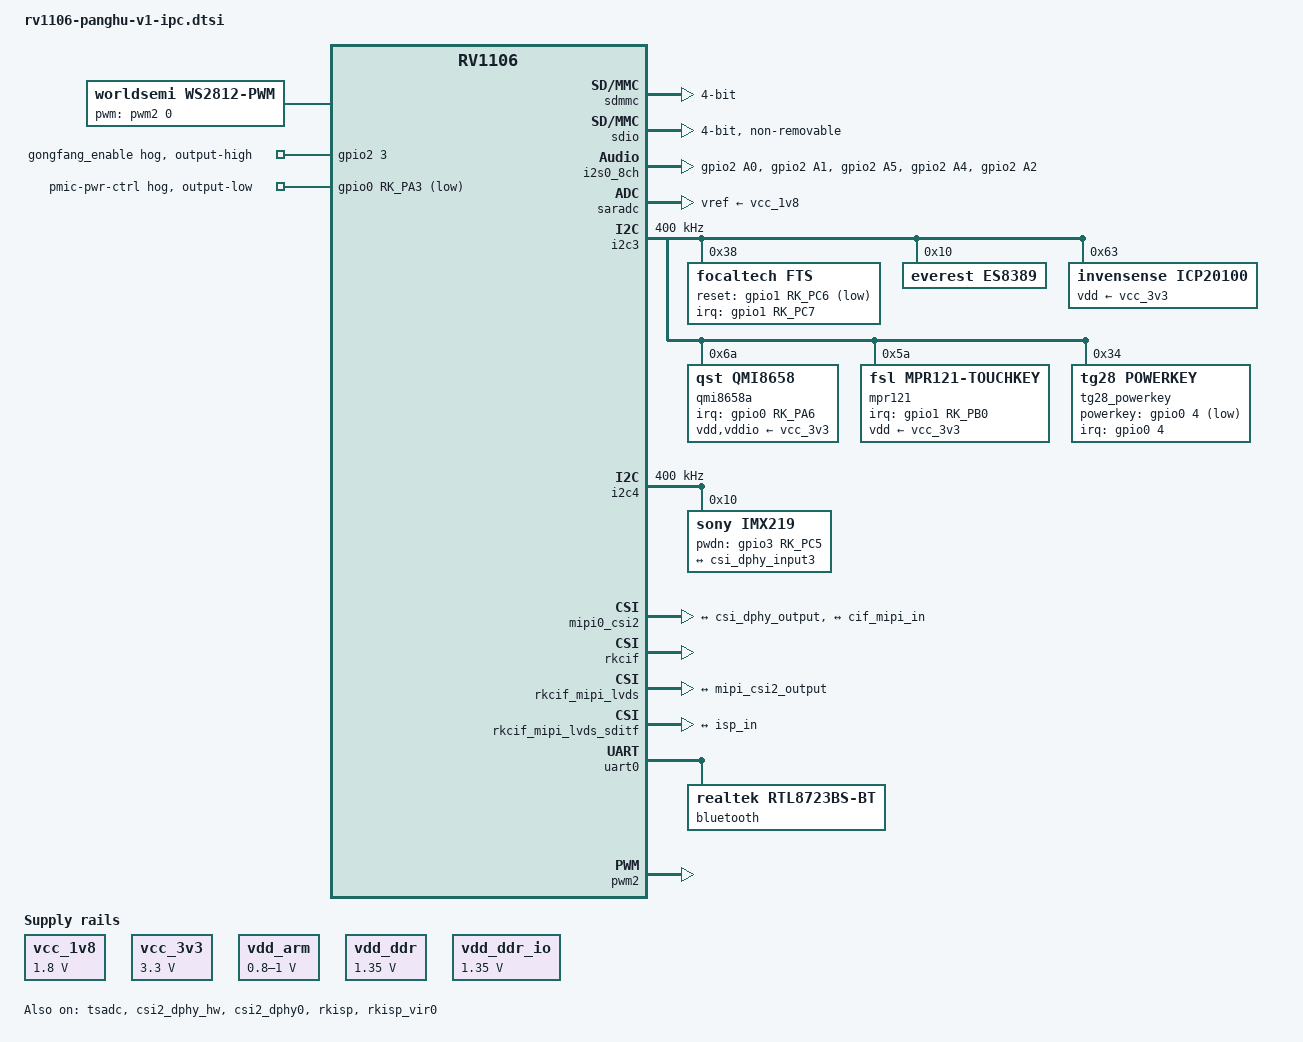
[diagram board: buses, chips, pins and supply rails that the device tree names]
// SPDX-License-Identifier: (GPL-2.0+ OR MIT)
/*
 * Copyright (c) 2022 Rockchip Electronics Co., Ltd.
 */
#include "rv1106-amp.dtsi"

/ {
	chosen {
		bootargs = "earlycon=uart8250,mmio32,0xff4c0000 console=ttyFIQ0 root=/dev/mmcblk1p7 rootwait snd_soc_core.prealloc_buffer_size_kbytes=16 coherent_pool=0 snd_soc_core.disable_offload=0 log_buf_len=1M mmc.debug=1";
	};

	reserved_memory: reserved-memory {
		#address-cells = <1>;
		#size-cells = <1>;
		ranges;
		
		drm_logo: drm-logo@00000000 {
			compatible = "rockchip,drm-logo";
			reg = <0x0 0x0>;
		};
		
		rkisp_reserved: rkisp@0 {
			compatible = "shared-dma-pool";
			inactive;
			reusable;
			size = <0x800000>; //8M for ISP
		};
		
		linux,cma {
			status = "okay";
			compatible = "shared-dma-pool";
			inactive;
			reusable;
			size = <0xA00000>; //10M
			linux,cma-default;
		};
	};

	/* ES8389音频编解码器声卡 - 配置为两个单端麦克风和双声道立体声喇叭 */
	es8389_sound: es8389-sound {
		status = "okay";
		compatible = "simple-audio-card";
		simple-audio-card,name = "rv1106-es8389";
		simple-audio-card,format = "i2s";
		simple-audio-card,mclk-fs = <256>;
		simple-audio-card,bitclock-master = <&i2s0_8ch>;
		simple-audio-card,frame-master = <&i2s0_8ch>;
		//spk-con-gpio = <&gpio2 RK_PA3 GPIO_ACTIVE_HIGH>;
		rockchip,audio-routing =
			/* 双声道立体声喇叭输出 - 左声道和右声道分别连接到LOUT2和ROUT2 */
			"Speaker", "LOUT2",
			"Speaker", "ROUT2",
			"Speaker", "Speaker Power",
			"Speaker", "Speaker Power",
			/* 两个单端麦克风输入 - 左麦克风连接到LINPUT1，右麦克风连接到RINPUT1 */
			"LINPUT1", "Left Mic",
			"RINPUT1", "Right Mic";
		dai_cpu: simple-audio-card,cpu {sound-dai = <&i2s0_8ch>;};
		simple-audio-card,codec {sound-dai = <&es8389>;};
	};

	vcc_1v8: vcc-1v8 {
		compatible = "regulator-fixed";
		regulator-name = "vcc_1v8";
		regulator-always-on;
		regulator-boot-on;
		regulator-min-microvolt = <1800000>;
		regulator-max-microvolt = <1800000>;
	};

	vcc_3v3: vcc-3v3 {
		compatible = "regulator-fixed";
		regulator-name = "vcc_3v3";
		regulator-always-on;
		regulator-boot-on;
		regulator-min-microvolt = <3300000>;
		regulator-max-microvolt = <3300000>;
	};

	vdd_arm: vdd-arm {
		compatible = "regulator-fixed";
		regulator-name = "vdd_arm";
		regulator-min-microvolt = <800000>;
		regulator-max-microvolt = <1000000>;
		regulator-init-microvolt = <900000>;
		regulator-always-on;
		regulator-boot-on;
	};

	// 这个ddr的电压是axp2101给的电压，需配置2101之后才可以设置ddr的电压(待实现)
	vdd_ddr: vdd-ddr {
		compatible = "regulator-fixed";
		regulator-name = "vdd_ddr";
		regulator-min-microvolt = <1350000>;
		regulator-max-microvolt = <1350000>;
		regulator-always-on;
		regulator-boot-on;
	};

	vdd_ddr_io: vdd-ddr-io {
		compatible = "regulator-fixed";
		regulator-name = "vdd_ddr_io";
		regulator-min-microvolt = <1350000>;
		regulator-max-microvolt = <1350000>;
		regulator-always-on;
		regulator-boot-on;
	};

	/* AXP2101按键配置 - IRQ连接到GPIO1PD0 */
	/* 注意：AXP2101的IRQ引脚通常是低电平有效（开漏输出） */
/*	axp2101_key: axp2101-key {
		compatible = "x-powers,axp2101-key";
		irq-gpios = <&gpio1 RK_PD0 GPIO_ACTIVE_LOW>;
		keycode-single = <116>;  
		keycode-double = <102>;  
		keycode-short = <114>;   
		keycode-long = <115>;   
		double-click-interval = <300>;  
		short-press-time = <50>;        
		long-press-time = <1000>;       
		debounce-time = <20>;           
		status = "okay";
	};
*/



	/* WS2812 LED驱动 - 使用PWM2M0接口，PWM+DMA方式 */
	ws2812 {
		compatible = "worldsemi,ws2812-pwm";
		pwms = <&pwm2 0 1250 0>;  /* PWM2, 周期1250ns (800kHz) */
		status = "okay";
	};
};

/**********SDMMC**********/
&sdmmc {
	status = "okay";
	max-frequency = <50000000>;
	no-sdio;
	no-mmc;
	bus-width = <4>;
	cap-mmc-highspeed;
	cap-sd-highspeed;
	disable-wp;
	pinctrl-names = "default";
	pinctrl-0 = <&sdmmc0_clk &sdmmc0_cmd &sdmmc0_det &sdmmc0_bus4>;
};

/***********mmc interface for wifi map to sdio set for sdio mode**********/
&sdio {
	status = "okay";
	max-frequency = <50000000>; // 最大运行频率不超过 150Mhz; SDIO2.0 卡最大 50M，SDIO3.0 最大支持 150M
	bus-width = <4>;             // 4线数据模式

	cap-sd-highspeed;            // 此配置同 SD 卡功能，作为 SDIO 外设，也有区分是否为 highspeed 的 SDIO 外设。
	cap-sdio-irq;                // 此配置标识该 SDIO 外设(通常是 Wifi)是否支持 sdio 中断
	keep-power-in-suspend;       // 此配置表示是否支持睡眠不断电，请默认加入该选项。Wifi 一般都有深度唤醒的要求。
	non-removable;               // 此项表示该插槽为不可移动设备且此项为 SDIO 设备必须添加项。        
	no-1-8-v;
	supports-sdio;               // 标识此插槽为 SDIO 功能，为必须添加项。否则无法初始化 SDIO 外设。
	
	pinctrl-names = "default", "sleep";
	pinctrl-0 = <&sdmmc1m1_clk &sdmmc1m1_cmd &sdmmc1m1_bus4>; // rv1106-pinctrl.dtsi
	pinctrl-1 = <&sdmmc1m1_idle_pins>;
};

/***************************** AUDIO ********************************/
&i2s0_8ch {
	status = "okay";
	rockchip,clk-trcm = <1>;
	rockchip,io-func = <1>;
	pinctrl-names = "default";
	pinctrl-0 = <&i2s0_sclk &i2s0_lrck &i2s0_sdi0 &i2s0_sdo0 &i2s0_mclk>;
	assigned-clocks = <&cru MCLK_I2S0_8CH_TX>;
	assigned-clock-rates = <12288000>;
	#sound-dai-cells = <0>;
};

/***************************** C  PU ********************************/
&cpu0 {
	cpu-supply = <&vdd_arm>;
};

/***************************** ADC ********************************/
&saradc {
	status = "okay";
	vref-supply = <&vcc_1v8>;
};

&tsadc {
	status = "okay";
};

/***************************** CSI ********************************/
&csi2_dphy_hw {
	status = "okay";
};

&csi2_dphy0 {
	status = "okay";

	ports {
		#address-cells = <1>;
		#size-cells = <0>;

		port@0 {
			reg = <0>;
			#address-cells = <1>;
			#size-cells = <0>;

			csi_dphy_input3: endpoint@3 {
				reg = <3>;
				remote-endpoint = <&imx219_out>;
				data-lanes = <1 2>;
			};

		};

		port@1 {
			reg = <1>;
			#address-cells = <1>;
			#size-cells = <0>;

			csi_dphy_output: endpoint@0 {
				reg = <0>;
				remote-endpoint = <&mipi_csi2_input>;
			};
		};
	};
};

/* I2C3: ES8389音频编解码器 */
&i2c3 {
	status = "okay";
	clock-frequency = <400000>;  // 400kHz I2C频率
	pinctrl-names = "default";
	pinctrl-0 = <&i2c3m1_xfer>;
	
	focaltech@38 { 
		compatible = "focaltech,fts";	
		reg = <0x38>;  					
		interrupt-parent = <&gpio1>;				
		interrupts = <RK_PC7 IRQ_TYPE_EDGE_FALLING>;
		focaltech,reset-gpio = <&gpio1 RK_PC6 GPIO_ACTIVE_LOW>;
		focaltech,irq-gpio = <&gpio1 RK_PC7 IRQ_TYPE_LEVEL_LOW>; 

		focaltech,max-touch-number = <5>;			
		focaltech,display-coords =  <0 0 240 320>;
		focaltech,rotate = <270>;
	};

	es8389: es8389@10{
		status = "okay";
		compatible = "everest,es8389";
		reg = <0x10>;
		clocks = <&cru MCLK_I2S0_8CH_TX>;
		clock-names = "mclk";
		assigned-clocks = <&cru MCLK_I2S0_8CH_TX>;
		assigned-clock-rates = <12288000>;
		#sound-dai-cells = <0>;
	};

	/* ICP20100气压和温度传感器 */
	icp20100: icp20100@63 {
		compatible = "invensense,icp20100";
		reg = <0x63>;
		vdd-supply = <&vcc_3v3>;  /* 电源供应 */
	};

	qmi8658a: qmi8658a@6a{
		status = "okay";
		compatible = "qst,qmi8658";
		reg = <0x6a>;
		qst,layout = <0x01>;
		qst,auto-report;
		vdd-supply = <&vcc_3v3>;
		vddio-supply = <&vcc_3v3>;
		interrupt-parent = <&gpio0>;
		interrupts = <RK_PA6 IRQ_TYPE_EDGE_RISING>;
		interrupt-names = "INT1";
		mount-matrix = "1", "0", "0",
			       "-1", "0", "0",
			       "0", "0", "1";
	};

	mpr121: mpr121@5a {
		compatible = "fsl,mpr121-touchkey";
		reg = <0x5a>;
		interrupt-parent = <&gpio1>;
		interrupts = <RK_PB0 IRQ_TYPE_EDGE_FALLING>;  /* 下降沿触发，与驱动代码一致 */
		interrupt-names = "touchkey";
		vdd-supply = <&vcc_3v3>;
		linux,keycodes = <KEY_1 KEY_2 KEY_3>;
		wakeup-source;
	};

/*
		tg28_powerkey: tg28_powerkey@34 {
		status = "okay";
		compatible = "tg28,powerkey";
		reg = <0x34>;
		interrupt-parent = <&gpio1>;
	    pinctrl-names = "default";
		pinctrl-0 = <&key_custom_pins>;
		interrupts = <RK_PD0 IRQ_TYPE_EDGE_FALLING>;
		interrupt-names = "powerkey-int";
		key-short-press-ms = <50>;
		
		powerkey-gpio = <&gpio1 RK_PD0 GPIO_ACTIVE_LOW>;
		key-long-press-ms = <1000>;
		key-double-click-ms = <300>;
		key-debounce-ms = <20>;
	};
	*/


// 2. TG28设备节点（修正中断/GPIO配置）
tg28_powerkey: tg28_powerkey@34 {
    status = "okay";
    compatible = "tg28,powerkey";  // 必须与驱动of_match_table一致
    reg = <0x34>;                  // TG28的I2C地址（需与硬件一致）
    
    // 绑定pinctrl配置
    pinctrl-names = "default";
    pinctrl-0 = <&key_custom_pins>;
    

    interrupt-parent = <&gpio0>;
    interrupts = <4 IRQ_TYPE_EDGE_FALLING>;  // 
    interrupt-names = "powerkey-int";
    
 
    powerkey-gpio = <&gpio0 4 GPIO_ACTIVE_LOW>;  // 
    
    // 自定义参数（驱动中解析）
    key-short-press-ms = <50>;
    key-long-press-ms = <1000>;
    key-double-click-ms = <300>;
    key-debounce-ms = <20>;
};

};

&i2c4 {
	status = "okay";
	clock-frequency = <400000>;
	pinctrl-names = "default";
	pinctrl-0 = <&i2c4m2_xfer>;

	imx219: imx219@10 {
		compatible = "sony,imx219";
		status = "okay";
		reg = <0x10>;

		clocks = <&cru MCLK_REF_MIPI0>;


		clock-names = "xvclk";
		assigned-clocks = <&cru MCLK_REF_MIPI0>;
        assigned-clock-rates = <24000000>;

		pwdn-gpios = <&gpio3 RK_PC5 GPIO_ACTIVE_HIGH>;

		pinctrl-names = "default";
		pinctrl-0 = <&mipi_refclk_out0>;
		rockchip,camera-module-index = <0>;
		rockchip,camera-module-facing = "back";
		rockchip,camera-module-name = "default";
		rockchip,camera-module-lens-name = "default";
		
		port {
			imx219_out: endpoint {
				remote-endpoint = <&csi_dphy_input3>;
				data-lanes = <1 2>;
				link-frequencies = /bits/ 64 <456000000>;
			};
		};
	};
};

&mipi0_csi2 {
	status = "okay";

	ports {
		#address-cells = <1>;
		#size-cells = <0>;

		port@0 {
			reg = <0>;
			#address-cells = <1>;
			#size-cells = <0>;

			mipi_csi2_input: endpoint@1 {
				reg = <1>;
				remote-endpoint = <&csi_dphy_output>;
			};
		};

		port@1 {
			reg = <1>;
			#address-cells = <1>;
			#size-cells = <0>;

			mipi_csi2_output: endpoint@0 {
				reg = <0>;
				remote-endpoint = <&cif_mipi_in>;
			};
		};
	};
};

&rkcif {
	status = "okay";
};

&rkcif_mipi_lvds {
	status = "okay";

	pinctrl-names = "default";
	pinctrl-0 = <&mipi_pins>;
	port {
		/* MIPI CSI-2 endpoint */
		cif_mipi_in: endpoint {
			remote-endpoint = <&mipi_csi2_output>;
		};
	};
};

&rkcif_mipi_lvds_sditf {
	status = "okay";

	port {
		/* MIPI CSI-2 endpoint */
		mipi_lvds_sditf: endpoint {
			remote-endpoint = <&isp_in>;
		};
	};
};

&rkisp {
	status = "okay";
	memory-region = <&rkisp_reserved>;
};  

&rkisp_vir0 {
	status = "okay";

	port@0 {
		isp_in: endpoint {
			remote-endpoint = <&mipi_lvds_sditf>;
		};
	};
};


/*****************************PINCTRL********************************/
// UART bluetooth
&uart0 {
	status = "okay";
	pinctrl-names = "default";
	pinctrl-0 = <&uart0m1_xfer &uart0m1_rtsn &uart0m1_ctsn>;
	dma-names = "tx", "rx";
	
	bluetooth {
		compatible = "realtek,rtl8723bs-bt";
		max-speed = <1500000>;
		status = "okay";
	};
};

&pwm2{
	status = "okay";  /* 启用PWM2，用于WS2812 PWM+DMA控制 */
	pinctrl-0 = <&pwm2m0_pins>;  /* 配置为PWM2M0模式，对应GPIO0A1 */
};

//i2s
&pinctrl {
	// I2S0 M0 引脚配置
	i2s0 {
		i2s0_sclk: i2s0-sclk {
			rockchip,pins = <2 RK_PA0 2 &pcfg_pull_none>;
		};
		
		i2s0_lrck: i2s0-lrck {
			rockchip,pins = <2 RK_PA1 2 &pcfg_pull_none>;
		};

		i2s0_sdo0: i2s0-sdo0 {
			rockchip,pins = <2 RK_PA4    2 &pcfg_pull_none>;
		};

		i2s0_mclk: i2s0-mclk {
			rockchip,pins = <2 RK_PA2 2 &pcfg_pull_none>;
		};
		
		i2s0_sdi0: i2s0-sdi0 {
			rockchip,pins = <2 RK_PA5 2 &pcfg_pull_none>;
		};		
	};

/*
		key_custom {
		key_custom_pins: key_custom_pins {
			rockchip,pins =
				<0 RK_PA4 0 &pcfg_pull_up>;
		};
	}; 
	*/

		key_custom {
		key_custom_pins: key_custom_pins {
			rockchip,pins =
				<0 RK_PA4 0 &pcfg_pull_up>;
		};
	}; 


};

//功放
&gpio2 {
    gongfang_gpio: gongfang-enable-gpio {
        gpio-hog;
        gpios = <3 GPIO_ACTIVE_HIGH>;
        output-high;
        line-name = "gongfang_enable";
    };
};

&gpio0 {
	pmic_pwr_ctrl_gpio: pmic-pwr-ctrl-gpio {
		gpio-hog;
        gpios = <RK_PA3 GPIO_ACTIVE_LOW>;
        output-low;
        line-name = "pmic-pwr-ctrl";
	};
};
